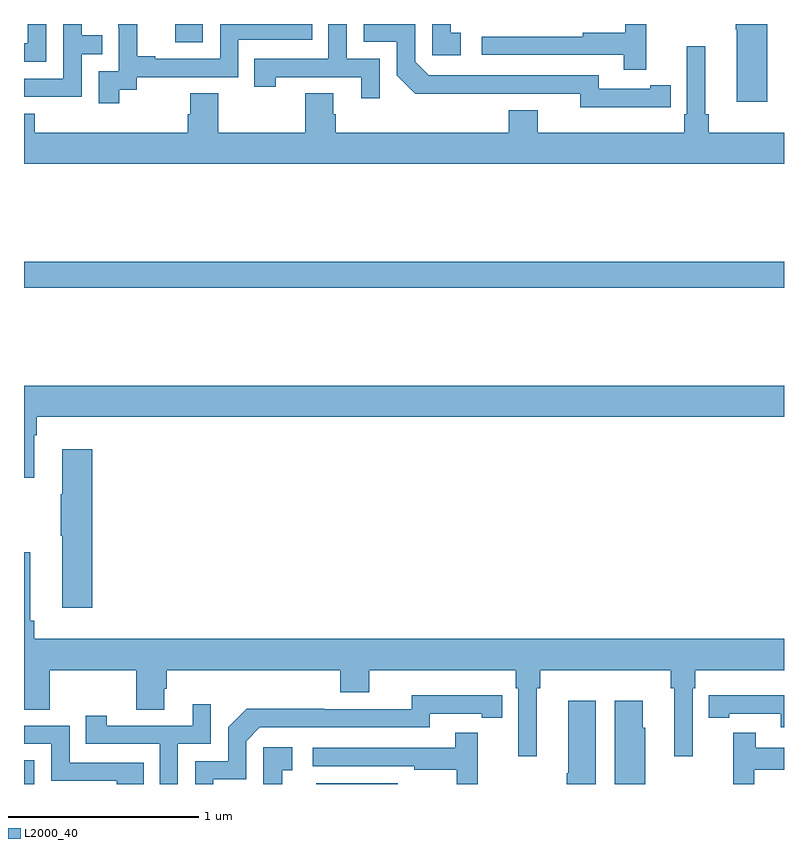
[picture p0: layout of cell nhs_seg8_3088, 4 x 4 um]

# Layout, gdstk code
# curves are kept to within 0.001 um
import gdstk
lib = gdstk.Library(unit=1e-6, precision=1e-09)
def R(c, l, rs):  # rectangles x0, y0, x1, y1
    for r in rs: c.add(gdstk.rectangle(r[:2], r[2:], *l))
def P(c, l, *ps):  # polygons
    for p in ps: c.add(gdstk.Polygon(p, *l))
L2000_40 = (2000, 40)

nhs_seg8_3088 = lib.new_cell('nhs_seg8_3088')
R(nhs_seg8_3088, L2000_40, [(303,1115.9,303.054,1116.025), (304.538,1115.9,304.966,1115.905), (303,1118.512,307,1118.648), (303.795,1119.804,303.942,1119.9)])
P(nhs_seg8_3088, L2000_40, [(306.296,1119.462),(306.404,1119.462),(306.404,1119.578),(306.296,1119.578),(306.296,1119.558),(306.024,1119.558),(306.024,1119.63),(305.13,1119.63),(305.058,1119.702),(305.058,1119.9),(304.788,1119.9),(304.788,1119.807),(304.962,1119.807),(304.962,1119.63),(305.06,1119.533),(305.928,1119.534),(305.928,1119.461)],
  [(303.303,1119.741),(303.413,1119.741),(303.413,1119.842),(303.303,1119.842),(303.303,1119.9),(303.207,1119.9),(303.207,1119.612),(303,1119.612),(303,1119.516),(303.303,1119.516)],
  [(304.872,1119.717),(304.698,1119.717),(304.698,1119.9),(304.602,1119.9),(304.602,1119.717),(304.213,1119.717),(304.213,1119.57),(304.324,1119.57),(304.324,1119.621),(304.775,1119.621),(304.775,1119.51),(304.872,1119.51)],
  [(303.502,1119.553),(303.594,1119.553),(303.594,1119.621),(304.128,1119.621),(304.128,1119.816),(304.517,1119.816),(304.517,1119.9),(304.032,1119.9),(304.032,1119.717),(303.691,1119.717),(303.691,1119.73),(303.596,1119.73),(303.596,1119.9),(303.497,1119.9),(303.497,1119.881),(303.498,1119.881),(303.498,1119.651),(303.393,1119.651),(303.393,1119.483),(303.502,1119.483)],
  [(303.117,1119.9),(303.021,1119.9),(303.021,1119.798),(303,1119.798),(303,1119.702),(303.117,1119.702)],
  [(305.299,1119.855),(305.246,1119.855),(305.246,1119.9),(305.148,1119.9),(305.148,1119.735),(305.299,1119.735)],
  [(306.911,1119.9),(306.745,1119.9),(306.745,1119.871),(306.752,1119.871),(306.752,1119.492),(306.911,1119.492)],
  [(306.275,1119.9),(306.165,1119.9),(306.165,1119.854),(305.941,1119.854),(305.941,1119.834),(305.409,1119.834),(305.409,1119.738),(306.157,1119.738),(306.157,1119.66),(306.275,1119.66)],
  [(307,1119.328),(306.605,1119.328),(306.605,1119.424),(306.586,1119.424),(306.586,1119.784),(306.489,1119.784),(306.489,1119.424),(306.476,1119.424),(306.476,1119.328),(305.704,1119.328),(305.704,1119.445),(305.552,1119.445),(305.552,1119.328),(304.64,1119.328),(304.64,1119.426),(304.627,1119.426),(304.627,1119.536),(304.48,1119.536),(304.48,1119.328),(304.023,1119.328),(304.023,1119.536),(303.875,1119.536),(303.875,1119.426),(303.863,1119.426),(303.863,1119.328),(303.056,1119.328),(303.056,1119.427),(303,1119.427),(303,1119.164),(307,1119.164)],
  [(303.055,1117.736),(303.068,1117.736),(303.068,1117.832),(307,1117.832),(307,1117.996),(303,1117.996),(303,1117.512),(303.055,1117.512)],
  [(303.359,1117.663),(303.2,1117.663),(303.2,1117.424),(303.193,1117.424),(303.193,1117.207),(303.2,1117.207),(303.2,1116.828),(303.359,1116.828)],
  [(305.698,1116.404),(305.717,1116.404),(305.717,1116.5),(306.403,1116.5),(306.403,1116.404),(306.422,1116.404),(306.422,1116.045),(306.519,1116.045),(306.519,1116.404),(306.533,1116.404),(306.533,1116.5),(307,1116.5),(307,1116.664),(303.053,1116.664),(303.053,1116.76),(303.034,1116.76),(303.034,1117.12),(303,1117.12),(303,1116.292),(303.135,1116.292),(303.135,1116.5),(303.592,1116.5),(303.592,1116.292),(303.739,1116.292),(303.739,1116.402),(303.752,1116.402),(303.752,1116.5),(304.664,1116.5),(304.664,1116.383),(304.816,1116.383),(304.816,1116.5),(305.588,1116.5),(305.588,1116.404),(305.601,1116.404),(305.601,1116.045),(305.698,1116.045)],
  [(303.997,1115.925),(304.17,1115.925),(304.17,1116.126),(304.242,1116.198),(305.136,1116.198),(305.136,1116.27),(305.408,1116.27),(305.408,1116.25),(305.516,1116.25),(305.516,1116.366),(305.04,1116.367),(305.04,1116.294),(304.58,1116.294),(304.58,1116.296),(304.172,1116.296),(304.074,1116.198),(304.074,1116.021),(303.9,1116.021),(303.9,1115.9),(303.997,1115.9)],
  [(307,1116.367),(306.712,1116.367),(306.712,1116.366),(306.604,1116.366),(306.604,1116.25),(306.712,1116.25),(306.712,1116.27),(306.984,1116.27),(306.984,1116.198),(307,1116.198)],
  [(306.01,1116.337),(305.864,1116.337),(305.864,1115.957),(305.857,1115.957),(305.857,1115.9),(306.01,1115.9)],
  [(306.271,1116.195),(306.256,1116.195),(306.256,1116.337),(306.11,1116.337),(306.11,1115.9),(306.271,1115.9)],
  [(303.81,1116.111),(303.984,1116.111),(303.984,1116.319),(303.887,1116.319),(303.887,1116.207),(303.436,1116.207),(303.436,1116.259),(303.325,1116.259),(303.325,1116.111),(303.714,1116.111),(303.714,1115.9),(303.81,1115.9)],
  [(303.629,1116.012),(303.24,1116.012),(303.24,1116.207),(303,1116.207),(303,1116.111),(303.144,1116.111),(303.144,1115.916),(303.489,1115.916),(303.489,1115.9),(303.629,1115.9)],
  [(305.387,1116.169),(305.269,1116.169),(305.269,1116.09),(304.521,1116.09),(304.521,1115.994),(305.053,1115.994),(305.053,1115.974),(305.277,1115.974),(305.277,1115.9),(305.387,1115.9)],
  [(306.844,1115.974),(307,1115.974),(307,1116.09),(306.851,1116.09),(306.851,1116.169),(306.734,1116.169),(306.734,1115.9),(306.844,1115.9)],
  [(304.358,1115.973),(304.411,1115.973),(304.411,1116.094),(304.26,1116.094),(304.26,1115.9),(304.358,1115.9)])

lib.write_gds('nhs_seg8_3088.gds')
